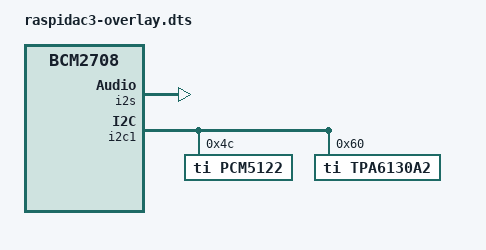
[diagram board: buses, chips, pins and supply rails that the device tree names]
// Definitions for RaspiDACv3
/dts-v1/;
/plugin/;

/ {
	compatible = "brcm,bcm2708";

	fragment@0 {
		target = <&i2s>;
		__overlay__ {
			status = "okay";
		};
	};

	fragment@1 {
		target = <&i2c1>;
		__overlay__ {
			#address-cells = <1>;
			#size-cells = <0>;
			status = "okay";

			pcm5122@4c {
				#sound-dai-cells = <0>;
				compatible = "ti,pcm5122";
				reg = <0x4c>;
				status = "okay";
			};

			tpa6130a2: tpa6130a2@60 {
				compatible = "ti,tpa6130a2";
				reg = <0x60>;
				status = "okay";
			};
		};
	};

	fragment@2 {
		target = <&sound>;
		__overlay__ {
			compatible = "jg,raspidacv3";
			i2s-controller = <&i2s>;
			status = "okay";
		};
	};
};
